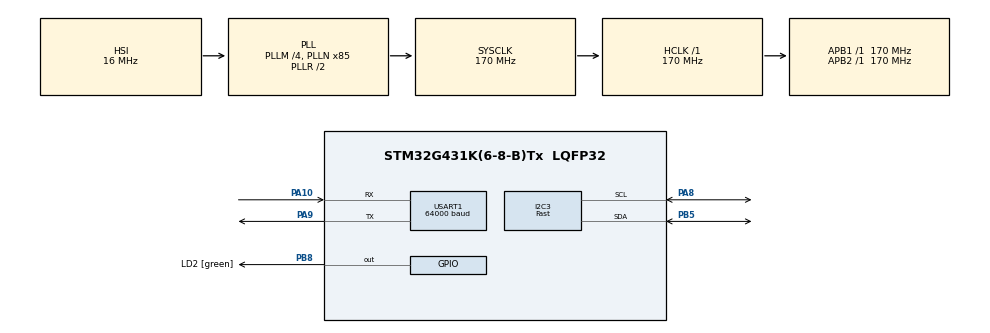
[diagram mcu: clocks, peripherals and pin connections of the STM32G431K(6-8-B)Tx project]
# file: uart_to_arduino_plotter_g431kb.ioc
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Dma.Request0=USART1_RX
Dma.USART1_RX.0.Direction=DMA_PERIPH_TO_MEMORY
Dma.USART1_RX.0.EventEnable=DISABLE
Dma.USART1_RX.0.Instance=DMA1_Channel1
Dma.USART1_RX.0.MemDataAlignment=DMA_MDATAALIGN_BYTE
Dma.USART1_RX.0.MemInc=DMA_MINC_ENABLE
Dma.USART1_RX.0.Mode=DMA_NORMAL
Dma.USART1_RX.0.PeriphDataAlignment=DMA_PDATAALIGN_BYTE
Dma.USART1_RX.0.PeriphInc=DMA_PINC_DISABLE
Dma.USART1_RX.0.Polarity=HAL_DMAMUX_REQ_GEN_RISING
Dma.USART1_RX.0.Priority=DMA_PRIORITY_LOW
Dma.USART1_RX.0.RequestNumber=1
Dma.USART1_RX.0.SignalID=NONE
Dma.USART1_RX.0.SyncEnable=DISABLE
Dma.USART1_RX.0.SyncPolarity=HAL_DMAMUX_SYNC_NO_EVENT
Dma.USART1_RX.0.SyncRequestNumber=1
Dma.USART1_RX.0.SyncSignalID=NONE
I2C3.I2C_Speed_Mode=I2C_Fast
I2C3.Timing=0x40621236
Mcu.Family=STM32G4
Mcu.Name=STM32G431K(6-8-B)Tx
Mcu.Package=LQFP32
NUCLEO-G431KB.Bsp_Common_DEMO=true
NUCLEO-G431KB.VCP=true
NVIC.DMA1_Channel1_IRQn=true\:0\:0\:false\:false\:true\:false\:true\:true
NVIC.PriorityGroup=NVIC_PRIORITYGROUP_4
NVIC.USART1_IRQn=true\:0\:0\:false\:false\:true\:true\:true\:true
PA10.GPIO_PuPd=GPIO_PULLUP
PA10.Mode=Asynchronous
PA10.Signal=USART1_RX
PA13.GPIO_Label=T_SWDIO
PA13.Signal=SYS_JTMS-SWDIO
PA14.GPIO_Label=T_SWCLK
PA14.Signal=SYS_JTCK-SWCLK
PA2.Signal=USART2_TX
PA3.Signal=USART2_RX
PA8.Mode=I2C
PA8.Signal=I2C3_SCL
PA9.Mode=Asynchronous
PA9.Signal=USART1_TX
PB3.GPIO_Label=T_SWO
PB3.Signal=SYS_JTDO-SWO
PB5.Mode=I2C
PB5.Signal=I2C3_SDA
PB8-BOOT0.GPIO_Label=LD2 [green]
PB8-BOOT0.Signal=GPIO_Output
ProjectManager.HeapSize=0x200
ProjectManager.StackSize=0x400
ProjectManager.TargetToolchain=STM32CubeIDE
RCC.ADC12Freq_Value=170000000
RCC.AHBFreq_Value=170000000
RCC.APB1Freq_Value=170000000
RCC.APB1TimFreq_Value=170000000
RCC.APB2Freq_Value=170000000
RCC.APB2TimFreq_Value=170000000
RCC.CortexFreq_Value=170000000
RCC.EXTERNAL_CLOCK_VALUE=12288000
RCC.HCLKFreq_Value=170000000
RCC.HSE_VALUE=8000000
RCC.HSI48_VALUE=48000000
RCC.HSI_VALUE=16000000
RCC.LSE_VALUE=32768
RCC.PLLM=RCC_PLLM_DIV4
RCC.PLLN=85
RCC.SYSCLKFreq_VALUE=170000000
RCC.SYSCLKSource=RCC_SYSCLKSOURCE_PLLCLK
RCC.USBFreq_Value=170000000
RCC.VCOOutputFreq_Value=340000000
USART1.BaudRate=64000
USART1.VirtualMode-Asynchronous=VM_ASYNC
VP_NUCLEO-G431KB_VS_BSP_COMMON.Mode=COMMON
VP_SYS_VS_DBSignals.Mode=DisableDeadBatterySignals
board=NUCLEO-G431KB

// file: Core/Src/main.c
/* USER CODE BEGIN Header */
/**
 ******************************************************************************
 * @file           : main.c
 * @brief          : Main program body
 ******************************************************************************
 * @attention
 *
 * Copyright (c) 2026 STMicroelectronics.
 * All rights reserved.
 *
 * This software is licensed under terms that can be found in the LICENSE file
 * in the root directory of this software component.
 * If no LICENSE file comes with this software, it is provided AS-IS.
 *
 ******************************************************************************
 */
/* USER CODE END Header */
#include "main.h"
#include "dma.h"
#include "i2c.h"
#include "usart.h"
#include "gpio.h"

/* USER CODE BEGIN Includes */

#include <string.h>
#include "ssd1306.h"

/* USER CODE END Includes */

/* USER CODE BEGIN PTD */

typedef enum
{
	CHECKSUM_OK = 0, CHECKSUM_ERROR,
} checksum_t;

/* USER CODE END PTD */

/* USER CODE BEGIN PD */

#define RX_BUFFER_SIZE 10
#define OLED_REFRESH_RATE 1000 // ms
#define DATA_SKIPPING_RATIO 2

//#define USE_ARDUINO_SERIAL_PLOTTER
//#define USE_SERIAL_PORT_PLOTTER
//#define USE_WEB_SERIAL_PLOTTER
//#define USE_BETTER_SERIAL_PLOTTER
#define USE_WEB_SERIAL_PLOTTER_2

/* USER CODE END PD */

COM_InitTypeDef BspCOMInit;

/* USER CODE BEGIN PV */

uint8_t rxData[RX_BUFFER_SIZE];
uint8_t rxDataBis[RX_BUFFER_SIZE];
uint8_t aux_msg_cnt = 0;
uint32_t if_msg_cnt = 0;
uint32_t all_msg_cnt = 0;
uint32_t checksum_error_cnt = 0;

uint32_t softTimerOLED;
char lcd_line[32];

volatile uint8_t rx_data_processed_flag = 1;
volatile uint16_t rx_data_size_bis;

float systick_time;

//union
//{
//	uint8_t uint8[2];
//	int16_t int16;
//} position_converter;

uint16_t right_wiper_position;

/* USER CODE END PV */

void SystemClock_Config(void);
/* USER CODE BEGIN PFP */
checksum_t VerifyChecksum8(uint8_t *_data, uint8_t _payload_size);
/* USER CODE END PFP */

int main(void)
{

	/* MCU Configuration--------------------------------------------------------*/

	/* Reset of all peripherals, Initializes the Flash interface and the Systick. */
	HAL_Init();

	/* Configure the system clock */
	SystemClock_Config();

	/* Initialize all configured peripherals */
	MX_GPIO_Init();
	MX_DMA_Init();
	MX_USART1_UART_Init();
	MX_I2C3_Init();
	/* USER CODE BEGIN 2 */

	ssd1306_Init();
	ssd1306_Fill(Black);
	ssd1306_SetCursor(20, 2);
	ssd1306_WriteString("ufnalski.edu.pl", Font_6x8, White);
	ssd1306_SetCursor(10, 16);
	ssd1306_WriteString("UART to USB sniffer", Font_6x8, White);
	ssd1306_UpdateScreen();

	HAL_UARTEx_ReceiveToIdle_DMA(&huart1, rxData, RX_BUFFER_SIZE);
	HAL_UARTEx_ReceiveToIdle_DMA(&huart1, rxData, RX_BUFFER_SIZE); // the first one is rarely effective - needs debugging

	/* USER CODE END 2 */

	/* Initialize COM1 port (115200, 8 bits (7-bit data + 1 stop bit), no parity */
	BspCOMInit.BaudRate = 115200;
	BspCOMInit.WordLength = COM_WORDLENGTH_8B;
	BspCOMInit.StopBits = COM_STOPBITS_1;
	BspCOMInit.Parity = COM_PARITY_NONE;
	BspCOMInit.HwFlowCtl = COM_HWCONTROL_NONE;
	if (BSP_COM_Init(COM1, &BspCOMInit) != BSP_ERROR_NONE)
	{
		Error_Handler();
	}

	/* USER CODE BEGIN BSP */

	/* -- Sample board code to send message over COM1 port ---- */
	printf("\r\nWelcome to UART to USB STM32 world!\r\n");

	/* USER CODE END BSP */

	/* Infinite loop */
	/* USER CODE BEGIN WHILE */
	softTimerOLED = HAL_GetTick();

	while (1)
	{
		if ((HAL_GetTick() - softTimerOLED) > OLED_REFRESH_RATE)
		{
			softTimerOLED = HAL_GetTick();
			sprintf(lcd_line, "All cnt:   %lu", all_msg_cnt);
			ssd1306_SetCursor(12, 32);
			ssd1306_WriteString(lcd_line, Font_6x8, White);
			sprintf(lcd_line, "If cnt:    %lu", if_msg_cnt);
			ssd1306_SetCursor(12, 44);
			ssd1306_WriteString(lcd_line, Font_6x8, White);
			sprintf(lcd_line, "Error cnt: %lu", checksum_error_cnt);
			ssd1306_SetCursor(12, 56);
			ssd1306_WriteString(lcd_line, Font_6x8, White);
			ssd1306_UpdateScreen();
		}

		if (rx_data_processed_flag == 0)
		{
			all_msg_cnt++;

			if (rx_data_size_bis == 5)
			{
				if_msg_cnt++;

				if (VerifyChecksum8(rxDataBis, 4) == CHECKSUM_ERROR)
				{
					checksum_error_cnt++;
				}

				aux_msg_cnt++;
				if ((aux_msg_cnt % DATA_SKIPPING_RATIO == 0)
						&& (VerifyChecksum8(rxDataBis, 4) == CHECKSUM_OK))
				{
					right_wiper_position = ((((uint16_t) rxDataBis[1]) << 8)
							| (uint16_t) rxDataBis[2]) >> 4;
#if defined(USE_ARDUINO_SERIAL_PLOTTER)	 // Arduino serial plotter (Arduino IDE)
					// https://docs.arduino.cc/software/ide-v2/tutorials/ide-v2-serial-plotter/
					printf("Wiper_position:%d\r\n", right_wiper_position);
#elif defined(USE_SERIAL_PORT_PLOTTER)  // Serial port plotter
					// https://github.com/CieNTi/serial_port_plotter
					printf("$%d;", right_wiper_position);
#elif defined(USE_WEB_SERIAL_PLOTTER)  // Web Serial Plotter (atomic14)
					// https://www.atomic14.com/2025/09/03/web-serial-plotter
					printf("%d\r\n", right_wiper_position);
#elif defined(USE_BETTER_SERIAL_PLOTTER)  // Better Serial Plotter
					// https://github.com/nathandunk/BetterSerialPlotter
					systick_time = ((float) HAL_GetTick()) / 1000.0f;
					printf("%.3f\t%d\r\n", systick_time, right_wiper_position);
#elif defined(USE_WEB_SERIAL_PLOTTER_2)  // Web Serial Plotter (sekigon-gonnoc)
					// https://github.com/sekigon-gonnoc/web-serial-plotter
					systick_time = ((float) HAL_GetTick()) / 1000.0f;
					printf("Systick_time:%.3f,Wiper_position:%d\r\n",
							systick_time, right_wiper_position);
#endif
					aux_msg_cnt = 0;
				}
			}

			rx_data_processed_flag = 1;
		}
		/* USER CODE END WHILE */

	}
}

void SystemClock_Config(void)
{
	RCC_OscInitTypeDef RCC_OscInitStruct =
	{ 0 };
	RCC_ClkInitTypeDef RCC_ClkInitStruct =
	{ 0 };

	/** Configure the main internal regulator output voltage
	 */
	HAL_PWREx_ControlVoltageScaling(PWR_REGULATOR_VOLTAGE_SCALE1_BOOST);

	/** Initializes the RCC Oscillators according to the specified parameters
	 * in the RCC_OscInitTypeDef structure.
	 */
	RCC_OscInitStruct.OscillatorType = RCC_OSCILLATORTYPE_HSI;
	RCC_OscInitStruct.HSIState = RCC_HSI_ON;
	RCC_OscInitStruct.HSICalibrationValue = RCC_HSICALIBRATION_DEFAULT;
	RCC_OscInitStruct.PLL.PLLState = RCC_PLL_ON;
	RCC_OscInitStruct.PLL.PLLSource = RCC_PLLSOURCE_HSI;
	RCC_OscInitStruct.PLL.PLLM = RCC_PLLM_DIV4;
	RCC_OscInitStruct.PLL.PLLN = 85;
	RCC_OscInitStruct.PLL.PLLP = RCC_PLLP_DIV2;
	RCC_OscInitStruct.PLL.PLLQ = RCC_PLLQ_DIV2;
	RCC_OscInitStruct.PLL.PLLR = RCC_PLLR_DIV2;
	if (HAL_RCC_OscConfig(&RCC_OscInitStruct) != HAL_OK)
	{
		Error_Handler();
	}

	/** Initializes the CPU, AHB and APB buses clocks
	 */
	RCC_ClkInitStruct.ClockType = RCC_CLOCKTYPE_HCLK | RCC_CLOCKTYPE_SYSCLK
			| RCC_CLOCKTYPE_PCLK1 | RCC_CLOCKTYPE_PCLK2;
	RCC_ClkInitStruct.SYSCLKSource = RCC_SYSCLKSOURCE_PLLCLK;
	RCC_ClkInitStruct.AHBCLKDivider = RCC_SYSCLK_DIV1;
	RCC_ClkInitStruct.APB1CLKDivider = RCC_HCLK_DIV1;
	RCC_ClkInitStruct.APB2CLKDivider = RCC_HCLK_DIV1;

	if (HAL_RCC_ClockConfig(&RCC_ClkInitStruct, FLASH_LATENCY_4) != HAL_OK)
	{
		Error_Handler();
	}
}

/* USER CODE BEGIN 4 */
void HAL_UARTEx_RxEventCallback(UART_HandleTypeDef *huart, uint16_t Size)
{
	if (huart->Instance == USART1)
	{
		if (rx_data_processed_flag == 1)
		{
			rx_data_processed_flag = 0;
			memcpy(rxDataBis, rxData, Size);
			rx_data_size_bis = Size;
		}
		HAL_UARTEx_ReceiveToIdle_DMA(&huart1, rxData, RX_BUFFER_SIZE);
	}
}

checksum_t VerifyChecksum8(uint8_t *_data, uint8_t _payload_size)
{
	uint8_t sum_of_bytes = 0;
	for (uint8_t i = 0; i < _payload_size; i++)
	{
		sum_of_bytes += _data[i];
	}

	if (sum_of_bytes == _data[_payload_size])
	{
		return CHECKSUM_OK;
	}
	else
	{
		return CHECKSUM_ERROR;
	}
}
/* USER CODE END 4 */

/* USER CODE BEGIN Header */
/**
 ******************************************************************************
 * @file           : main.c
 * @brief          : Main program body
 ******************************************************************************
 * @attention
 *
 * Copyright (c) 2026 STMicroelectronics.
 * All rights reserved.
 *
 * This software is licensed under terms that can be found in the LICENSE file
 * in the root directory of this software component.
 * If no LICENSE file comes with this software, it is provided AS-IS.
 *
 ******************************************************************************
 */
/* USER CODE END Header */

void Error_Handler(void)
{
	__disable_irq();
	while (1)
	{
	}
}
